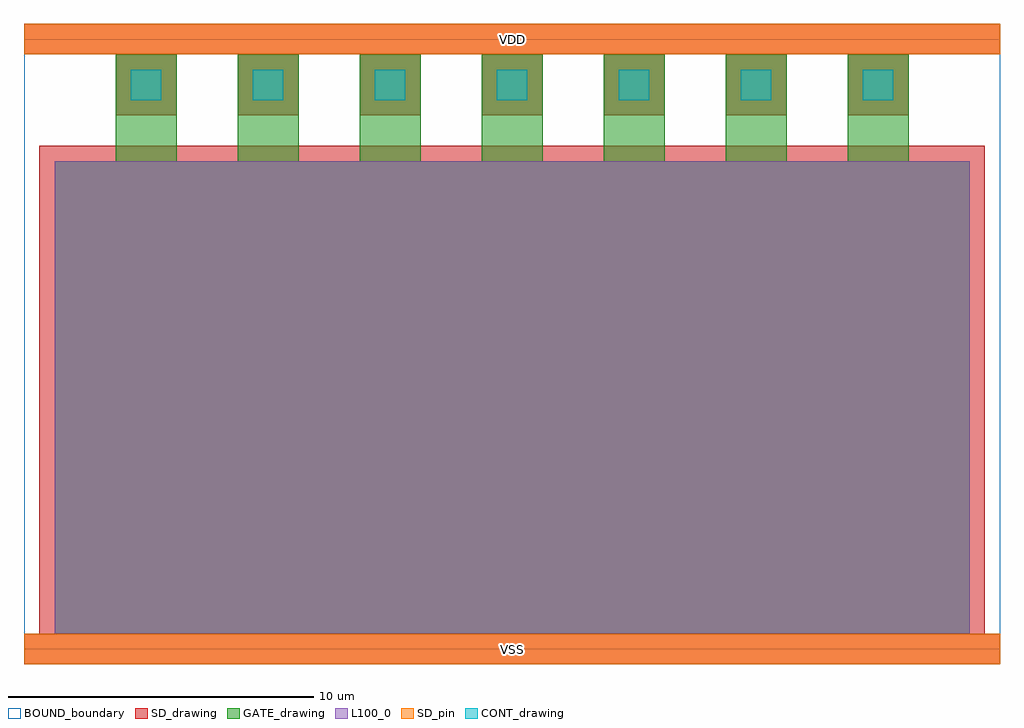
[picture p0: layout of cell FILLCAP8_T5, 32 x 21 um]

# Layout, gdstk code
import gdstk
lib = gdstk.Library(unit=1e-6, precision=1e-09)
def R(c, l, rs):  # rectangles x0, y0, x1, y1
    for r in rs: c.add(gdstk.rectangle(r[:2], r[2:], *l))
def A(c, l, x, y, w, h, nx, ny, dx, dy):  # array of equal rectangles
    R(c, l, [(x+i*dx, y+j*dy, x+i*dx+w, y+j*dy+h) for i in range(nx) for j in range(ny)])
SD_drawing = (10, 0)
SD_pin = (10, 3)
GATE_drawing = (11, 0)
CONT_drawing = (30, 0)
L100_0 = (100, 0)
BOUND_boundary = (150, 5)

cap_cdns_772544896170 = lib.new_cell('cap_CDNS_772544896170')
R(cap_cdns_772544896170, SD_drawing, [(-15.5,-8.25,15.5,8.25)])
R(cap_cdns_772544896170, GATE_drawing, [(-15,-7.75,15,7.75)])
R(cap_cdns_772544896170, L100_0, [(-15,-7.75,15,7.75)])

sd_gate_cdns_77254489617 = lib.new_cell('SD_GATE_CDNS_772544896170')
R(sd_gate_cdns_77254489617, SD_drawing, [(-1,-1,1,1)])
R(sd_gate_cdns_77254489617, GATE_drawing, [(-1,-1,1,1)])
R(sd_gate_cdns_77254489617, CONT_drawing, [(-0.5,-0.5,0.5,0.5)])

fillcap8_t5 = lib.new_cell('FILLCAP8_T5')
R(fillcap8_t5, SD_pin, [(0,-0.5,32,0.5), (0,19.5,32,20.5)])
A(fillcap8_t5, GATE_drawing, 3, 16, 2, 1.5, 7, 1, 4, 0)
R(fillcap8_t5, BOUND_boundary, [(0,0,32,20)])
fillcap8_t5.add(gdstk.FlexPath([(0,20),(32,20)], 1, ends="flush", simple_path=True, layer=10, datatype=0))  # SD_drawing
fillcap8_t5.add(gdstk.FlexPath([(0,0),(32,0)], 1, ends="flush", simple_path=True, layer=10, datatype=0))  # SD_drawing
fillcap8_t5.add(gdstk.Reference(cap_cdns_772544896170, (16,8.25)))
fillcap8_t5.add(gdstk.Reference(sd_gate_cdns_77254489617, (8,18.5)))
fillcap8_t5.add(gdstk.Reference(sd_gate_cdns_77254489617, (16,18.5)))
fillcap8_t5.add(gdstk.Reference(sd_gate_cdns_77254489617, (24,18.5)))
fillcap8_t5.add(gdstk.Reference(sd_gate_cdns_77254489617, (4,18.5)))
fillcap8_t5.add(gdstk.Reference(sd_gate_cdns_77254489617, (20,18.5)))
fillcap8_t5.add(gdstk.Reference(sd_gate_cdns_77254489617, (28,18.5)))
fillcap8_t5.add(gdstk.Reference(sd_gate_cdns_77254489617, (12,18.5)))
fillcap8_t5.add(gdstk.Label('VDD', (16,20), layer=10, texttype=3))
fillcap8_t5.add(gdstk.Label('VSS', (16,0), layer=10, texttype=3))

lib.write_gds('FILLCAP8_T5.gds')
